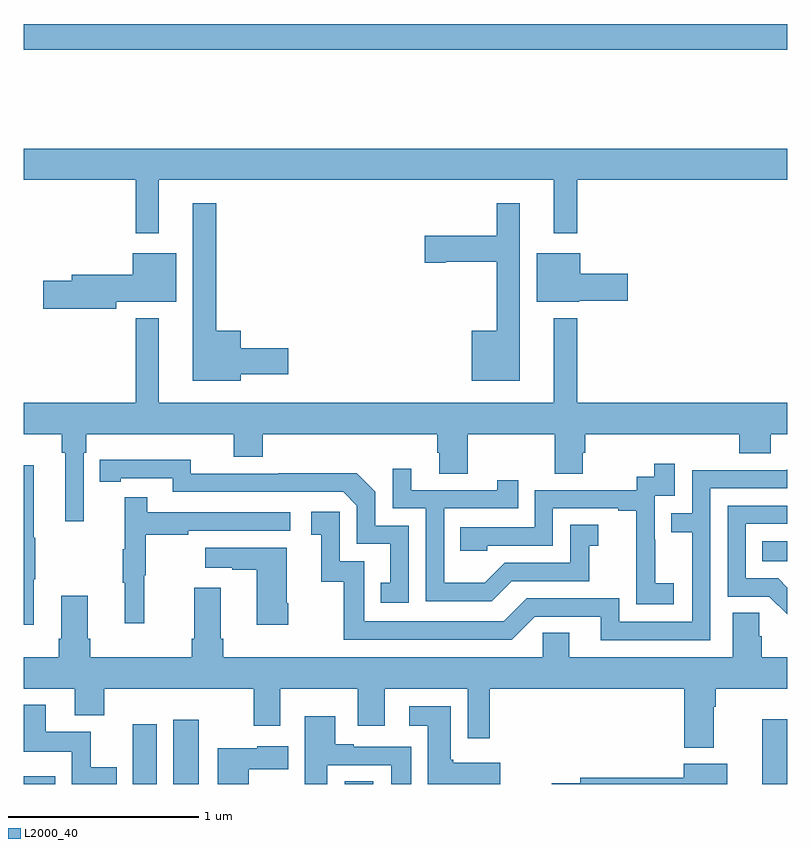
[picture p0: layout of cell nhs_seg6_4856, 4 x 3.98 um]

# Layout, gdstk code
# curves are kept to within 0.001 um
import gdstk
lib = gdstk.Library(unit=1e-6, precision=1e-09)
def R(c, l, rs):  # rectangles x0, y0, x1, y1
    for r in rs: c.add(gdstk.rectangle(r[:2], r[2:], *l))
def P(c, l, *ps):  # polygons
    for p in ps: c.add(gdstk.Polygon(p, *l))
L2000_40 = (2000, 40)

nhs_seg6_4856 = lib.new_cell('nhs_seg6_4856')
R(nhs_seg6_4856, L2000_40, [(399,949.5,399.167,949.54), (399.572,949.5,399.697,949.813), (399.785,949.5,399.916,949.837), (400.682,949.5,400.831,949.514), (402.869,949.5,403,949.84), (402.868,950.666,403,950.77), (399,953.344,403,953.48)])
P(nhs_seg6_4856, L2000_40, [(399.709,952.664),(401.777,952.664),(401.777,952.383),(401.899,952.383),(401.899,952.664),(403,952.664),(403,952.828),(399,952.828),(399,952.664),(399.588,952.664),(399.588,952.383),(399.709,952.383)],
  [(400.138,951.647),(400.387,951.647),(400.387,951.782),(400.138,951.782),(400.138,951.874),(400.009,951.874),(400.009,952.54),(399.887,952.54),(399.887,951.611),(400.138,951.611)],
  [(401.599,952.54),(401.478,952.54),(401.478,952.371),(401.1,952.371),(401.1,952.229),(401.212,952.229),(401.212,952.234),(401.478,952.234),(401.478,951.874),(401.348,951.874),(401.348,951.611),(401.599,951.611)],
  [(401.91,952.031),(402.163,952.031),(402.163,952.173),(401.914,952.173),(401.914,952.279),(401.687,952.279),(401.687,952.025),(401.91,952.025)],
  [(399.486,952.025),(399.799,952.025),(399.799,952.279),(399.572,952.279),(399.572,952.166),(399.251,952.166),(399.251,952.136),(399.102,952.136),(399.102,951.989),(399.486,951.989)],
  [(399.315,951.236),(399.329,951.236),(399.329,951.332),(400.1,951.332),(400.1,951.215),(400.253,951.215),(400.253,951.332),(401.165,951.332),(401.165,951.234),(401.177,951.234),(401.177,951.124),(401.325,951.124),(401.325,951.332),(401.782,951.332),(401.782,951.124),(401.929,951.124),(401.929,951.234),(401.942,951.234),(401.942,951.332),(402.749,951.332),(402.749,951.233),(402.914,951.233),(402.914,951.332),(403,951.332),(403,951.496),(401.899,951.496),(401.899,951.94),(401.777,951.94),(401.777,951.496),(399.709,951.496),(399.709,951.94),(399.588,951.94),(399.588,951.496),(399,951.496),(399,951.332),(399.199,951.332),(399.199,951.236),(399.218,951.236),(399.218,950.877),(399.315,950.877)],
  [(401.016,950.853),(400.842,950.853),(400.842,951.03),(400.744,951.128),(400.336,951.128),(400.336,951.126),(399.876,951.126),(399.876,951.199),(399.4,951.198),(399.4,951.082),(399.508,951.082),(399.508,951.102),(399.78,951.102),(399.78,951.03),(400.674,951.03),(400.746,950.958),(400.746,950.757),(400.919,950.757),(400.919,950.553),(400.87,950.553),(400.87,950.448),(401.016,950.448)],
  [(402.406,950.551),(402.308,950.551),(402.308,950.78),(402.306,950.78),(402.306,951.009),(402.411,951.009),(402.411,951.178),(402.303,951.178),(402.303,951.108),(402.21,951.108),(402.21,951.039),(401.676,951.039),(401.676,950.844),(401.287,950.844),(401.287,950.721),(401.427,950.721),(401.427,950.748),(401.772,950.748),(401.772,950.943),(402.113,950.943),(402.113,950.931),(402.209,950.931),(402.209,950.647),(402.208,950.647),(402.208,950.441),(402.406,950.441)],
  [(399.052,950.572),(399.06,950.572),(399.06,950.789),(399.052,950.789),(399.052,951.169),(399,951.169),(399,950.334),(399.052,950.334)],
  [(401.557,950.562),(401.961,950.562),(401.961,950.747),(402.01,950.747),(402.01,950.857),(401.862,950.857),(401.862,950.658),(401.52,950.658),(401.416,950.554),(401.202,950.554),(401.202,950.943),(401.591,950.943),(401.591,951.091),(401.48,951.091),(401.48,951.039),(401.029,951.039),(401.029,951.151),(400.932,951.151),(400.932,950.943),(401.106,950.943),(401.106,950.457),(401.452,950.457)],
  [(402.597,951.048),(403,951.048),(403,951.146),(402.997,951.146),(402.997,951.144),(402.501,951.144),(402.501,950.919),(402.391,950.919),(402.391,950.818),(402.501,950.818),(402.501,950.349),(402.12,950.349),(402.12,950.472),(401.634,950.472),(401.514,950.352),(400.785,950.352),(400.785,950.667),(400.656,950.667),(400.656,950.926),(400.506,950.926),(400.506,950.805),(400.559,950.805),(400.559,950.559),(400.677,950.559),(400.677,950.256),(401.556,950.256),(401.676,950.376),(402.023,950.376),(402.023,950.253),(402.597,950.253)],
  [(399.632,950.592),(399.64,950.592),(399.64,950.806),(399.863,950.806),(399.863,950.826),(400.396,950.826),(400.396,950.922),(399.647,950.922),(399.647,951.001),(399.53,951.001),(399.53,950.729),(399.519,950.729),(399.519,950.555),(399.53,950.555),(399.53,950.343),(399.632,950.343)],
  [(403,950.529),(402.952,950.577),(402.783,950.577),(402.783,950.862),(403,950.862),(403,950.958),(402.687,950.958),(402.687,950.481),(402.906,950.481),(403,950.388)],
  [(400.386,950.446),(400.378,950.446),(400.378,950.737),(399.951,950.737),(399.951,950.633),(400.094,950.633),(400.094,950.623),(400.22,950.623),(400.22,950.334),(400.386,950.334)],
  [(402.613,949.904),(402.626,949.904),(402.626,950),(403,950),(403,950.164),(402.866,950.164),(402.866,950.273),(402.852,950.273),(402.852,950.396),(402.713,950.396),(402.713,950.164),(401.857,950.164),(401.857,950.291),(401.718,950.291),(401.718,950.164),(400.046,950.164),(400.046,950.26),(400.033,950.26),(400.033,950.527),(399.893,950.527),(399.893,950.26),(399.881,950.26),(399.881,950.164),(399.35,950.164),(399.35,950.26),(399.337,950.26),(399.337,950.485),(399.197,950.485),(399.197,950.26),(399.185,950.26),(399.185,950.164),(399,950.164),(399,950),(399.269,950),(399.269,949.859),(399.422,949.859),(399.422,950),(400.205,950),(400.205,949.806),(400.345,949.806),(400.345,950),(400.751,950),(400.751,949.806),(400.891,949.806),(400.891,950),(401.325,950),(401.325,949.74),(401.441,949.74),(401.441,950),(402.461,950),(402.461,949.691),(402.613,949.691)],
  [(399.487,949.588),(399.351,949.588),(399.351,949.774),(399.115,949.774),(399.115,949.915),(399,949.915),(399,949.67),(399.252,949.67),(399.252,949.5),(399.487,949.5)],
  [(401.497,949.612),(401.25,949.612),(401.25,949.626),(401.236,949.626),(401.236,949.906),(401.019,949.906),(401.019,949.805),(401.117,949.805),(401.117,949.5),(401.497,949.5)],
  [(400.591,949.599),(400.925,949.599),(400.925,949.5),(401.029,949.5),(401.029,949.695),(400.729,949.695),(400.729,949.708),(400.633,949.708),(400.633,949.855),(400.472,949.855),(400.472,949.5),(400.591,949.5)],
  [(400.178,949.577),(400.387,949.577),(400.387,949.699),(400.224,949.699),(400.224,949.687),(400.016,949.687),(400.016,949.5),(400.178,949.5)],
  [(402.685,949.606),(402.458,949.606),(402.458,949.534),(401.915,949.534),(401.915,949.505),(401.766,949.505),(401.766,949.5),(402.685,949.5)])

lib.write_gds('nhs_seg6_4856.gds')
